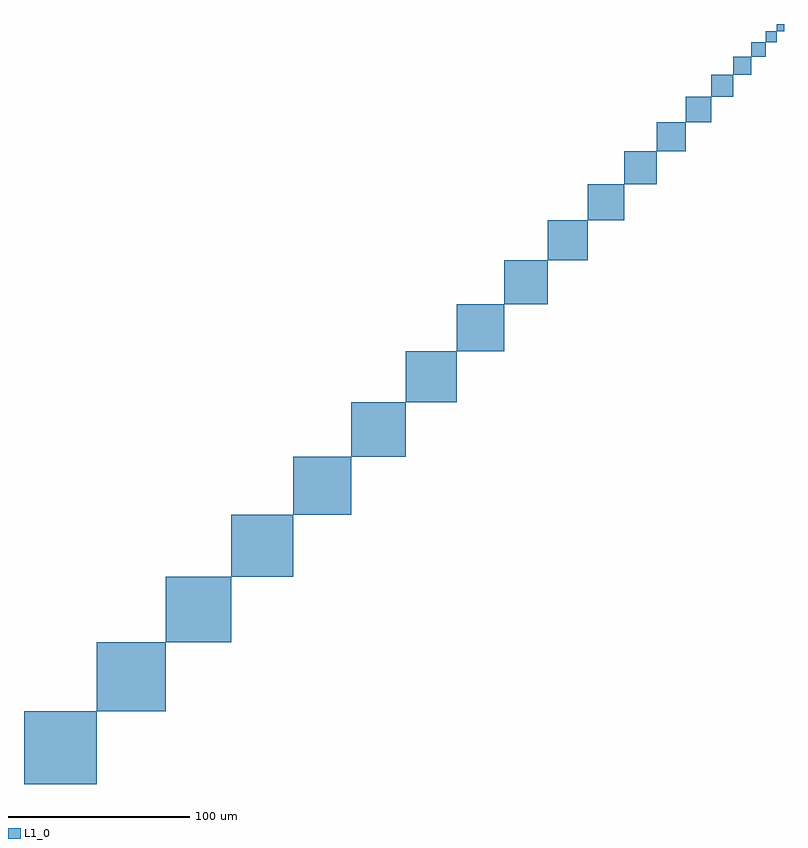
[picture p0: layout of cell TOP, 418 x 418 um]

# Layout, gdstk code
import gdstk
lib = gdstk.Library(unit=1e-6, precision=1e-09)
def R(c, l, rs):  # rectangles x0, y0, x1, y1
    for r in rs: c.add(gdstk.rectangle(r[:2], r[2:], *l))
L1_0 = (1, 0)

top = lib.new_cell('TOP')
R(top, L1_0, [(0,0,20,20), (0,0,40,40), (40,40,78,78), (78,78,114,114), (114,114,148,148), (148,148,180,180), (180,180,210,210), (210,210,238,238), (238,238,264,264), (264,264,288,288), (288,288,310,310), (310,310,330,330), (330,330,348,348), (348,348,364,364), (364,364,378,378), (378,378,390,390), (390,390,400,400), (400,400,408,408), (408,408,414,414), (414,414,418,418)])

lib.write_gds('TOP.gds')
